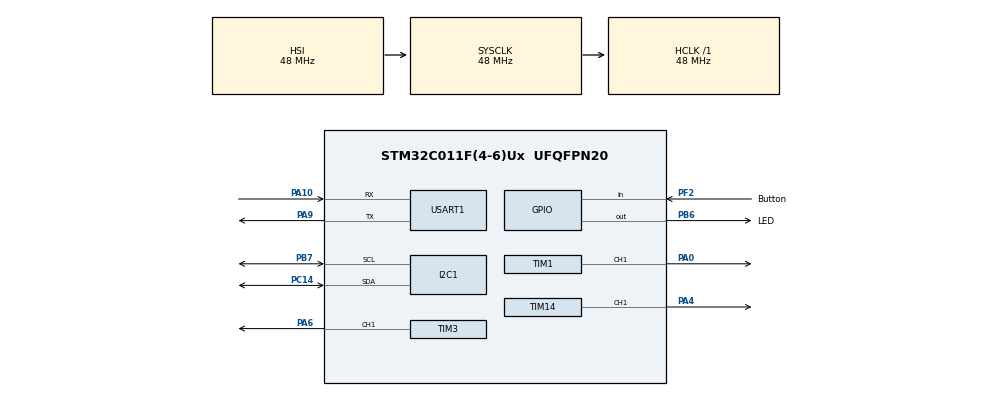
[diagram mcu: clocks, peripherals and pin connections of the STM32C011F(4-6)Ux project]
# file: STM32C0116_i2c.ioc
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I2C1.Timing=0x10805D88
Mcu.Family=STM32C0
Mcu.Name=STM32C011F(4-6)Ux
Mcu.Package=UFQFPN20
PA0.Signal=S_TIM1_CH1
PA10\ [PA12].Mode=Asynchronous
PA10\ [PA12].Signal=USART1_RX
PA13.Mode=Serial_Wire
PA13.Signal=DEBUG_SWDIO
PA14-BOOT0.Mode=Serial_Wire
PA14-BOOT0.Signal=DEBUG_SWCLK
PA4.Signal=S_TIM14_CH1
PA6.Signal=S_TIM3_CH1
PA9\ [PA11].Mode=Asynchronous
PA9\ [PA11].Signal=USART1_TX
PB6.GPIO_Label=LED
PB6.GPIO_Speed=GPIO_SPEED_FREQ_VERY_HIGH
PB6.PinState=GPIO_PIN_SET
PB6.Signal=GPIO_Output
PB7.Mode=I2C
PB7.Signal=I2C1_SCL
PC14-OSCX_IN\ (PC14).Mode=I2C
PC14-OSCX_IN\ (PC14).Signal=I2C1_SDA
PF2-NRST.GPIO_Label=Button
PF2-NRST.Signal=GPIO_Input
ProjectManager.HeapSize=0x200
ProjectManager.StackSize=0x400
ProjectManager.TargetToolchain=STM32CubeIDE
RCC.ADCFreq_Value=48000000
RCC.AHBFreq_Value=48000000
RCC.CortexFreq_Value=48000000
RCC.EXTERNAL_CLOCK_VALUE=12288000
RCC.HCLKFreq_Value=48000000
RCC.HSE_VALUE=8000000
RCC.HSISYSCLKDivider=RCC_HSI_DIV1
RCC.HSI_VALUE=48000000
RCC.LSE_VALUE=32768
RCC.SYSCLKFreq_VALUE=48000000
SH.S_TIM14_CH1.0=TIM14_CH1,PWM Generation1 CH1
SH.S_TIM1_CH1.0=TIM1_CH1,PWM Generation1 CH1
SH.S_TIM3_CH1.0=TIM3_CH1,PWM Generation1 CH1
TIM1.Channel-PWM\ Generation1\ CH1=TIM_CHANNEL_1
TIM1.Period=47999
TIM1.Prescaler=0
TIM1.Pulse-PWM\ Generation1\ CH1=9600
TIM14.Channel=TIM_CHANNEL_1
TIM14.Period=47999
TIM14.Pulse=1000
TIM3.Channel-PWM\ Generation1\ CH1=TIM_CHANNEL_1
TIM3.Period=47999
TIM3.Pulse-PWM\ Generation1\ CH1=5000
USART1.VirtualMode-Asynchronous=VM_ASYNC
VP_SYS_VS_PINREMAP.Mode=PINREMAP
VP_SYS_VS_PINREMAP_10_12.Mode=PINREMAP_10_12
VP_TIM14_VS_ClockSourceINT.Mode=Enable_Timer
VP_TIM1_VS_ClockSourceINT.Mode=Internal
board=STM32C0116-DK

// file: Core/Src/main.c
/* USER CODE BEGIN Header */
/**
 ******************************************************************************
 * @file           : main.c
 * @brief          : Main program body
 ******************************************************************************
 * @attention
 *
 * Copyright (c) 2025 STMicroelectronics.
 * All rights reserved.
 *
 * This software is licensed under terms that can be found in the LICENSE file
 * in the root directory of this software component.
 * If no LICENSE file comes with this software, it is provided AS-IS.
 *
 ******************************************************************************
 */
/* USER CODE END Header */
#include "main.h"

/* USER CODE BEGIN Includes */
#include "bq25180.h"
/* USER CODE END Includes */

I2C_HandleTypeDef hi2c1;

TIM_HandleTypeDef htim1;
TIM_HandleTypeDef htim3;
TIM_HandleTypeDef htim14;

UART_HandleTypeDef huart1;

/* USER CODE BEGIN PV */

BQ25180 chargerIC;

/* USER CODE END PV */

void SystemClock_Config(void);
static void MX_GPIO_Init(void);
static void MX_USART1_UART_Init(void);
static void MX_I2C1_Init(void);
static void MX_TIM1_Init(void);
static void MX_TIM14_Init(void);
static void MX_TIM3_Init(void);
/* USER CODE BEGIN PFP */
static void BQ25180_Init(void);

/* USER CODE END PFP */

int main(void) {

	/* MCU Configuration--------------------------------------------------------*/

	/* Reset of all peripherals, Initializes the Flash interface and the Systick. */
	HAL_Init();

	/* Configure the system clock */
	SystemClock_Config();

	/* Initialize all configured peripherals */
	MX_GPIO_Init();
	MX_USART1_UART_Init();
	MX_I2C1_Init();
	MX_TIM1_Init();
	MX_TIM14_Init();
	MX_TIM3_Init();
	/* USER CODE BEGIN 2 */

	BQ25180_Init();

	// Blue
	HAL_TIM_PWM_Start(&htim1, TIM_CHANNEL_1);

	// Green
	HAL_TIM_PWM_Start(&htim3, TIM_CHANNEL_1);

	// Red
	HAL_TIM_PWM_Start(&htim14, TIM_CHANNEL_1);

	/* USER CODE END 2 */

	/* Infinite loop */
	/* USER CODE BEGIN WHILE */

	while (1) {
//		uint8_t writeBuffer[] = "R"; // DATA to send
//		uint8_t readBuffer[12] = { 0 };
//		uint8_t readBatteryICBuffer[1] = { 0 };
//
//		HAL_StatusTypeDef statusOfReadRequest = HAL_I2C_Master_Transmit(&hi2c1,
//				(0x6F << 1), &writeBuffer, sizeof(writeBuffer), 1000);
//		HAL_Delay(500);
//		HAL_StatusTypeDef statusReceive = HAL_I2C_Master_Receive(&hi2c1,
//				(0x6F << 1), &readBuffer, sizeof(readBuffer), 1000);

		HAL_Delay(1000);

		configureChargerIC(&chargerIC);
		readRegisters(&chargerIC);

		HAL_Delay(5000);

		/* USER CODE END WHILE */

	}
}

void SystemClock_Config(void) {
	RCC_OscInitTypeDef RCC_OscInitStruct = { 0 };
	RCC_ClkInitTypeDef RCC_ClkInitStruct = { 0 };

	__HAL_FLASH_SET_LATENCY(FLASH_LATENCY_1);

	/** Initializes the RCC Oscillators according to the specified parameters
	 * in the RCC_OscInitTypeDef structure.
	 */
	RCC_OscInitStruct.OscillatorType = RCC_OSCILLATORTYPE_HSI;
	RCC_OscInitStruct.HSIState = RCC_HSI_ON;
	RCC_OscInitStruct.HSIDiv = RCC_HSI_DIV1;
	RCC_OscInitStruct.HSICalibrationValue = RCC_HSICALIBRATION_DEFAULT;
	if (HAL_RCC_OscConfig(&RCC_OscInitStruct) != HAL_OK) {
		Error_Handler();
	}

	/** Initializes the CPU, AHB and APB buses clocks
	 */
	RCC_ClkInitStruct.ClockType = RCC_CLOCKTYPE_HCLK | RCC_CLOCKTYPE_SYSCLK
			| RCC_CLOCKTYPE_PCLK1;
	RCC_ClkInitStruct.SYSCLKSource = RCC_SYSCLKSOURCE_HSI;
	RCC_ClkInitStruct.SYSCLKDivider = RCC_SYSCLK_DIV1;
	RCC_ClkInitStruct.AHBCLKDivider = RCC_HCLK_DIV1;
	RCC_ClkInitStruct.APB1CLKDivider = RCC_APB1_DIV1;

	if (HAL_RCC_ClockConfig(&RCC_ClkInitStruct, FLASH_LATENCY_1) != HAL_OK) {
		Error_Handler();
	}
}

static void MX_I2C1_Init(void) {

	hi2c1.Instance = I2C1;
	hi2c1.Init.Timing = 0x10805D88;
	hi2c1.Init.OwnAddress1 = 0;
	hi2c1.Init.AddressingMode = I2C_ADDRESSINGMODE_7BIT;
	hi2c1.Init.DualAddressMode = I2C_DUALADDRESS_DISABLE;
	hi2c1.Init.OwnAddress2 = 0;
	hi2c1.Init.OwnAddress2Masks = I2C_OA2_NOMASK;
	hi2c1.Init.GeneralCallMode = I2C_GENERALCALL_DISABLE;
	hi2c1.Init.NoStretchMode = I2C_NOSTRETCH_DISABLE;
	if (HAL_I2C_Init(&hi2c1) != HAL_OK) {
		Error_Handler();
	}

	/** Configure Analogue filter
	 */
	if (HAL_I2CEx_ConfigAnalogFilter(&hi2c1, I2C_ANALOGFILTER_ENABLE)
			!= HAL_OK) {
		Error_Handler();
	}

	/** Configure Digital filter
	 */
	if (HAL_I2CEx_ConfigDigitalFilter(&hi2c1, 0) != HAL_OK) {
		Error_Handler();
	}

}

static void MX_TIM1_Init(void) {

	TIM_ClockConfigTypeDef sClockSourceConfig = { 0 };
	TIM_MasterConfigTypeDef sMasterConfig = { 0 };
	TIM_OC_InitTypeDef sConfigOC = { 0 };
	TIM_BreakDeadTimeConfigTypeDef sBreakDeadTimeConfig = { 0 };

	htim1.Instance = TIM1;
	htim1.Init.Prescaler = 0;
	htim1.Init.CounterMode = TIM_COUNTERMODE_UP;
	htim1.Init.Period = 47999;
	htim1.Init.ClockDivision = TIM_CLOCKDIVISION_DIV1;
	htim1.Init.RepetitionCounter = 0;
	htim1.Init.AutoReloadPreload = TIM_AUTORELOAD_PRELOAD_DISABLE;
	if (HAL_TIM_Base_Init(&htim1) != HAL_OK) {
		Error_Handler();
	}
	sClockSourceConfig.ClockSource = TIM_CLOCKSOURCE_INTERNAL;
	if (HAL_TIM_ConfigClockSource(&htim1, &sClockSourceConfig) != HAL_OK) {
		Error_Handler();
	}
	if (HAL_TIM_PWM_Init(&htim1) != HAL_OK) {
		Error_Handler();
	}
	sMasterConfig.MasterOutputTrigger = TIM_TRGO_RESET;
	sMasterConfig.MasterOutputTrigger2 = TIM_TRGO2_RESET;
	sMasterConfig.MasterSlaveMode = TIM_MASTERSLAVEMODE_DISABLE;
	if (HAL_TIMEx_MasterConfigSynchronization(&htim1, &sMasterConfig)
			!= HAL_OK) {
		Error_Handler();
	}
	sConfigOC.OCMode = TIM_OCMODE_PWM1;
	sConfigOC.Pulse = 9600;
	sConfigOC.OCPolarity = TIM_OCPOLARITY_HIGH;
	sConfigOC.OCNPolarity = TIM_OCNPOLARITY_HIGH;
	sConfigOC.OCFastMode = TIM_OCFAST_DISABLE;
	sConfigOC.OCIdleState = TIM_OCIDLESTATE_RESET;
	sConfigOC.OCNIdleState = TIM_OCNIDLESTATE_RESET;
	if (HAL_TIM_PWM_ConfigChannel(&htim1, &sConfigOC, TIM_CHANNEL_1)
			!= HAL_OK) {
		Error_Handler();
	}
	sBreakDeadTimeConfig.OffStateRunMode = TIM_OSSR_DISABLE;
	sBreakDeadTimeConfig.OffStateIDLEMode = TIM_OSSI_DISABLE;
	sBreakDeadTimeConfig.LockLevel = TIM_LOCKLEVEL_OFF;
	sBreakDeadTimeConfig.DeadTime = 0;
	sBreakDeadTimeConfig.BreakState = TIM_BREAK_DISABLE;
	sBreakDeadTimeConfig.BreakPolarity = TIM_BREAKPOLARITY_HIGH;
	sBreakDeadTimeConfig.BreakFilter = 0;
	sBreakDeadTimeConfig.BreakAFMode = TIM_BREAK_AFMODE_INPUT;
	sBreakDeadTimeConfig.Break2State = TIM_BREAK2_DISABLE;
	sBreakDeadTimeConfig.Break2Polarity = TIM_BREAK2POLARITY_HIGH;
	sBreakDeadTimeConfig.Break2Filter = 0;
	sBreakDeadTimeConfig.Break2AFMode = TIM_BREAK_AFMODE_INPUT;
	sBreakDeadTimeConfig.AutomaticOutput = TIM_AUTOMATICOUTPUT_DISABLE;
	if (HAL_TIMEx_ConfigBreakDeadTime(&htim1, &sBreakDeadTimeConfig)
			!= HAL_OK) {
		Error_Handler();
	}
	HAL_TIM_MspPostInit(&htim1);

}

static void MX_TIM3_Init(void) {

	TIM_MasterConfigTypeDef sMasterConfig = { 0 };
	TIM_OC_InitTypeDef sConfigOC = { 0 };

	htim3.Instance = TIM3;
	htim3.Init.Prescaler = 0;
	htim3.Init.CounterMode = TIM_COUNTERMODE_UP;
	htim3.Init.Period = 47999;
	htim3.Init.ClockDivision = TIM_CLOCKDIVISION_DIV1;
	htim3.Init.AutoReloadPreload = TIM_AUTORELOAD_PRELOAD_DISABLE;
	if (HAL_TIM_PWM_Init(&htim3) != HAL_OK) {
		Error_Handler();
	}
	sMasterConfig.MasterOutputTrigger = TIM_TRGO_RESET;
	sMasterConfig.MasterSlaveMode = TIM_MASTERSLAVEMODE_DISABLE;
	if (HAL_TIMEx_MasterConfigSynchronization(&htim3, &sMasterConfig)
			!= HAL_OK) {
		Error_Handler();
	}
	sConfigOC.OCMode = TIM_OCMODE_PWM1;
	sConfigOC.Pulse = 5000;
	sConfigOC.OCPolarity = TIM_OCPOLARITY_HIGH;
	sConfigOC.OCFastMode = TIM_OCFAST_DISABLE;
	if (HAL_TIM_PWM_ConfigChannel(&htim3, &sConfigOC, TIM_CHANNEL_1)
			!= HAL_OK) {
		Error_Handler();
	}
	HAL_TIM_MspPostInit(&htim3);

}

static void MX_TIM14_Init(void) {

	TIM_OC_InitTypeDef sConfigOC = { 0 };

	htim14.Instance = TIM14;
	htim14.Init.Prescaler = 0;
	htim14.Init.CounterMode = TIM_COUNTERMODE_UP;
	htim14.Init.Period = 47999;
	htim14.Init.ClockDivision = TIM_CLOCKDIVISION_DIV1;
	htim14.Init.AutoReloadPreload = TIM_AUTORELOAD_PRELOAD_DISABLE;
	if (HAL_TIM_Base_Init(&htim14) != HAL_OK) {
		Error_Handler();
	}
	if (HAL_TIM_PWM_Init(&htim14) != HAL_OK) {
		Error_Handler();
	}
	sConfigOC.OCMode = TIM_OCMODE_PWM1;
	sConfigOC.Pulse = 1000;
	sConfigOC.OCPolarity = TIM_OCPOLARITY_HIGH;
	sConfigOC.OCFastMode = TIM_OCFAST_DISABLE;
	if (HAL_TIM_PWM_ConfigChannel(&htim14, &sConfigOC, TIM_CHANNEL_1)
			!= HAL_OK) {
		Error_Handler();
	}
	HAL_TIM_MspPostInit(&htim14);

}

static void MX_USART1_UART_Init(void) {

	huart1.Instance = USART1;
	huart1.Init.BaudRate = 115200;
	huart1.Init.WordLength = UART_WORDLENGTH_8B;
	huart1.Init.StopBits = UART_STOPBITS_1;
	huart1.Init.Parity = UART_PARITY_NONE;
	huart1.Init.Mode = UART_MODE_TX_RX;
	huart1.Init.HwFlowCtl = UART_HWCONTROL_NONE;
	huart1.Init.OverSampling = UART_OVERSAMPLING_16;
	huart1.Init.OneBitSampling = UART_ONE_BIT_SAMPLE_DISABLE;
	huart1.Init.ClockPrescaler = UART_PRESCALER_DIV1;
	huart1.AdvancedInit.AdvFeatureInit = UART_ADVFEATURE_NO_INIT;
	if (HAL_UART_Init(&huart1) != HAL_OK) {
		Error_Handler();
	}
	if (HAL_UARTEx_SetTxFifoThreshold(&huart1, UART_TXFIFO_THRESHOLD_1_8)
			!= HAL_OK) {
		Error_Handler();
	}
	if (HAL_UARTEx_SetRxFifoThreshold(&huart1, UART_RXFIFO_THRESHOLD_1_8)
			!= HAL_OK) {
		Error_Handler();
	}
	if (HAL_UARTEx_DisableFifoMode(&huart1) != HAL_OK) {
		Error_Handler();
	}

}

static void MX_GPIO_Init(void) {
	GPIO_InitTypeDef GPIO_InitStruct = { 0 };

	/* GPIO Ports Clock Enable */
	__HAL_RCC_GPIOF_CLK_ENABLE();
	__HAL_RCC_GPIOA_CLK_ENABLE();
	__HAL_RCC_GPIOB_CLK_ENABLE();
	__HAL_RCC_GPIOC_CLK_ENABLE();

	/*Configure GPIO pin Output Level */
	HAL_GPIO_WritePin(LED_GPIO_Port, LED_Pin, GPIO_PIN_SET);

	/*Configure GPIO pin : Button_Pin */
	GPIO_InitStruct.Pin = Button_Pin;
	GPIO_InitStruct.Mode = GPIO_MODE_INPUT;
	GPIO_InitStruct.Pull = GPIO_NOPULL;
	HAL_GPIO_Init(Button_GPIO_Port, &GPIO_InitStruct);

	/*Configure GPIO pin : LED_Pin */
	GPIO_InitStruct.Pin = LED_Pin;
	GPIO_InitStruct.Mode = GPIO_MODE_OUTPUT_PP;
	GPIO_InitStruct.Pull = GPIO_NOPULL;
	GPIO_InitStruct.Speed = GPIO_SPEED_FREQ_VERY_HIGH;
	HAL_GPIO_Init(LED_GPIO_Port, &GPIO_InitStruct);

}

/* USER CODE BEGIN 4 */

static void BQ25180_Init(void) {
	chargerIC.hi2c = &hi2c1;
	chargerIC.huart = &huart1;
	chargerIC.devAddress = (0x6A << 1);
}

/* USER CODE END 4 */

void Error_Handler(void) {
	__disable_irq();
	while (1) {
	}
}
